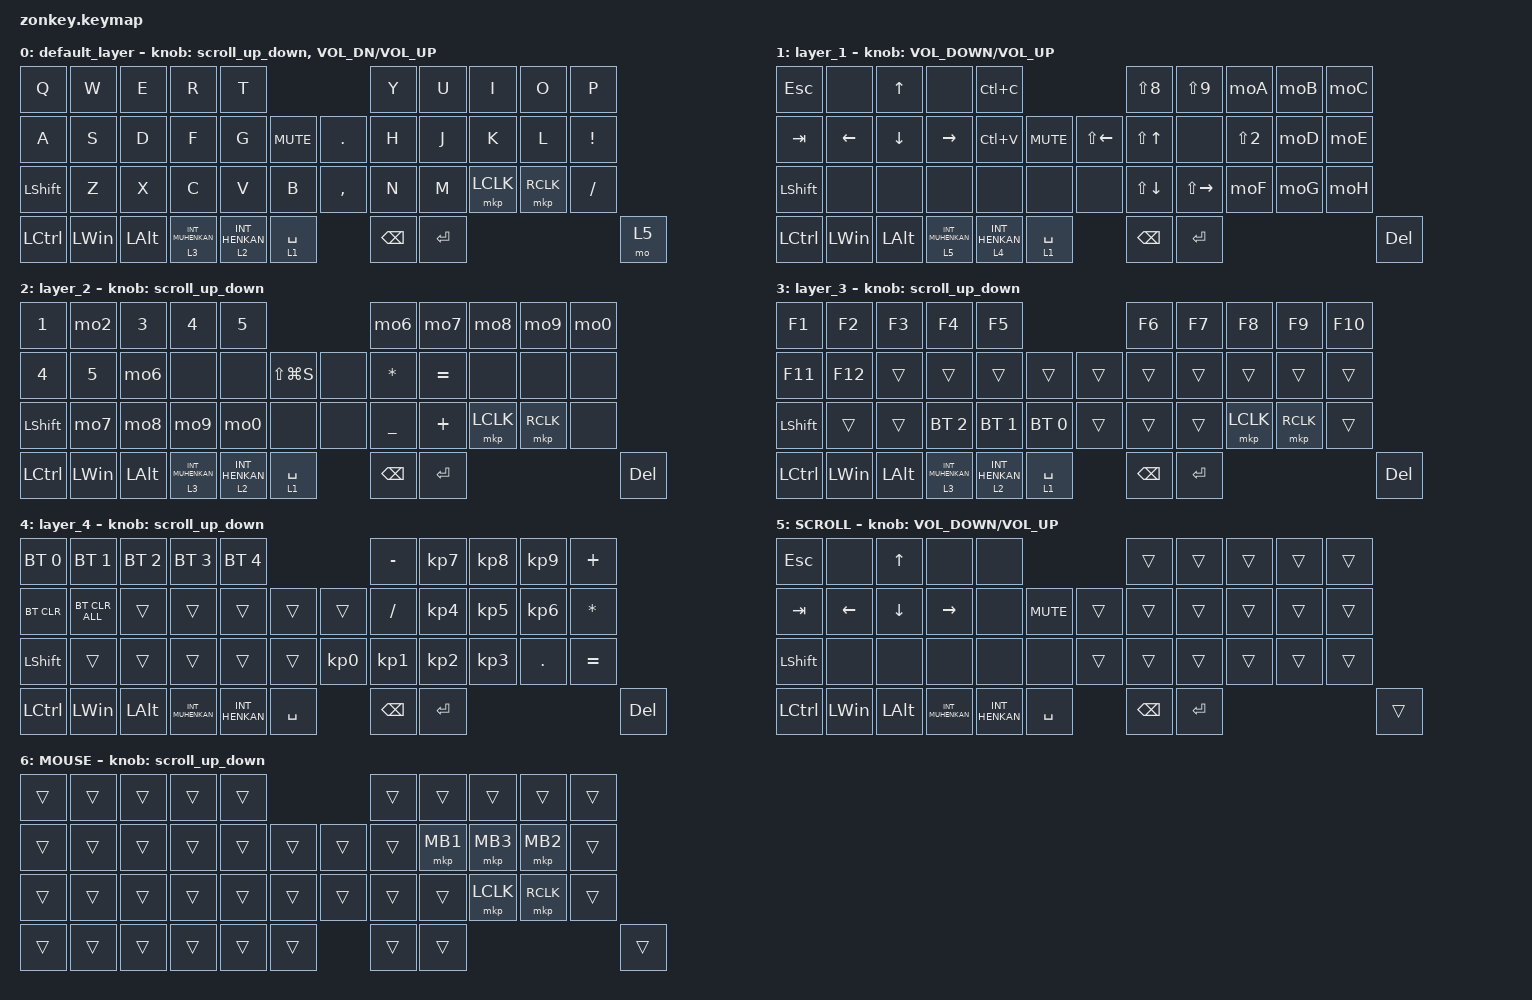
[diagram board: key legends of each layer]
#include <behaviors.dtsi>
#include <dt-bindings/zmk/bt.h>
#include <dt-bindings/zmk/keys.h>
#include <dt-bindings/zmk/pointing.h>

#define ZMK_POINTING_DEFAULT_SCRL_VAL 100
#define MOUSE 6
#define JP_DQUOTE       AT                // "
#define JP_AMPERSAND    CARET             // &
#define JP_QUOTE        AMPERSAND         // '
#define JP_EQUAL        UNDER             // =
#define JP_CARET        EQUAL             // ^
#define JP_YEN          0x89              // ¥
#define JP_PLUS         COLON             // +
#define JP_TILDE        PLUS              // ~
#define JP_PIPE         LS(0x89)          // |
#define JP_AT           LEFT_BRACKET      // @
#define JP_COLON        SINGLE_QUOTE      // :
#define JP_ASTERISK     DOUBLE_QUOTES     // *
#define JP_BACKQUOTE    LEFT_BRACE        // `
#define JP_UNDERSCORE   LS(0x87)          // _
#define JP_LBRACKET     RIGHT_BRACKET     // [
#define JP_RBRACKET     BACKSLASH         // ]
#define JP_LPAREN       ASTERISK          // (
#define JP_RPAREN       LEFT_PARENTHESIS  // )
#define JP_LBRACE       RIGHT_BRACE       // {
#define JP_RBRACE       PIPE              // }
#define JP_KANA         LANGUAGE_1        // かな
#define JP_EISU         LANGUAGE_2        // 英数
#define JP_HANZEN       GRAVE             // 半角/全角
#define JP_BSLH  INT1         // (backslash)

&mt {
    flavor = "balanced";
    quick-tap-ms = <0>;
};

/ {
    combos { compatible = "zmk,combos"; };

    mo2: mo2 {
        compatible = "zmk,behavior-mod-morph";
        #binding-cells = <0>;
        bindings = <&kp N2>, <&kp AT>;

        mods = <(MOD_LSFT|MOD_RSFT)>;
    };

    mo6: mo6 {
        compatible = "zmk,behavior-mod-morph";
        #binding-cells = <0>;
        bindings = <&kp N6>, <&kp CARET>;

        mods = <(MOD_LSFT|MOD_RSFT)>;
    };

    mo7: mo7 {
        compatible = "zmk,behavior-mod-morph";
        #binding-cells = <0>;
        bindings = <&kp N7>, <&kp AMPS>;

        mods = <(MOD_LSFT|MOD_RSFT)>;
    };

    mo8: mo8 {
        compatible = "zmk,behavior-mod-morph";
        #binding-cells = <0>;
        bindings = <&kp N8>, <&kp ASTRK>;

        mods = <(MOD_LSFT|MOD_RSFT)>;
    };

    mo9: mo9 {
        compatible = "zmk,behavior-mod-morph";
        #binding-cells = <0>;
        bindings = <&kp N9>, <&kp LPAR>;

        mods = <(MOD_LSFT|MOD_RSFT)>;
    };

    mo0: mo0 {
        compatible = "zmk,behavior-mod-morph";
        #binding-cells = <0>;
        bindings = <&kp N0>, <&kp LS(N9)>;

        mods = <(MOD_LSFT|MOD_RSFT)>;
    };

    moA: moA {
        compatible = "zmk,behavior-mod-morph";
        #binding-cells = <0>;
        bindings = <&kp MINUS>, <&kp UNDERSCORE>;

        mods = <(MOD_LSFT|MOD_RSFT)>;
    };

    moB: moB {
        compatible = "zmk,behavior-mod-morph";
        #binding-cells = <0>;
        bindings = <&kp EQUAL>, <&kp PLUS>;

        mods = <(MOD_LSFT|MOD_RSFT)>;
    };

    moC: moC {
        compatible = "zmk,behavior-mod-morph";
        #binding-cells = <0>;
        bindings = <&kp INT3>, <&kp JP_PIPE>;

        mods = <(MOD_LSFT|MOD_RSFT)>;
    };

    moD: moD {
        compatible = "zmk,behavior-mod-morph";
        #binding-cells = <0>;
        bindings = <&kp LBKT>, <&kp LBRC>;

        mods = <(MOD_LSFT|MOD_RSFT)>;
    };

    moE: moE {
        compatible = "zmk,behavior-mod-morph";
        #binding-cells = <0>;
        bindings = <&kp RBKT>, <&kp RBRC>;

        mods = <(MOD_LSFT|MOD_RSFT)>;
    };

    moF: moF {
        compatible = "zmk,behavior-mod-morph";
        #binding-cells = <0>;
        bindings = <&kp SEMI>, <&kp KP_PLUS>;

        mods = <(MOD_LSFT|MOD_RSFT)>;
    };

    moG: moG {
        compatible = "zmk,behavior-mod-morph";
        #binding-cells = <0>;
        bindings = <&kp APOSTROPHE>, <&kp DQT>;

        mods = <(MOD_LSFT|MOD_RSFT)>;
    };

    moH: moH {
        compatible = "zmk,behavior-mod-morph";
        #binding-cells = <0>;
        bindings = <&kp BACKSLASH>, <&kp TILDE2>;

        mods = <(MOD_LSFT|MOD_RSFT)>;
    };

    moI: moI {
        compatible = "zmk,behavior-mod-morph";
        #binding-cells = <0>;
        bindings = <&kp JP_BSLH>, <&kp JP_UNDERSCORE>;

        mods = <(MOD_LSFT|MOD_RSFT)>;
    };

    macros {
        to_layer_0: to_layer_0 {
            compatible = "zmk,behavior-macro-one-param";
            #binding-cells = <1>;
            bindings = <&to 0 &macro_param_1to1 &kp MACRO_PLACEHOLDER>;
            label = "TO_LAYER_0";
        };
    };

    behaviors {
        lt_to_layer_0: lt_to_layer_0 {
            compatible = "zmk,behavior-hold-tap";
            label = "LAYER_TAP_TO_0";
            bindings = <&mo>, <&to_layer_0>;

            #binding-cells = <2>;
            tapping-term-ms = <200>;
        };

        scroll_up_down: behavior_sensor_rotate_mouse_wheel_up_down {
            compatible = "zmk,behavior-sensor-rotate";
            #sensor-binding-cells = <0>;
            bindings = <&msc SCRL_DOWN>, <&msc SCRL_UP>;

            tap-ms = <20>;
        };

        newscroll_up_down: newscroll_up_down {
            compatible = "zmk,behavior-sensor-rotate";
            #sensor-binding-cells = <0>;
            bindings = <&msc SCRL_DOWN>, <&msc SCRL_UP>;

            tap-ms = <20>;
            label = "NEWSCROLL_UP_DOWN";
        };
    };

    keymap {
        compatible = "zmk,keymap";

        default_layer {
            // -----------------------------------------------------------------------------------------
            // |  Q  |  W  |  E  |  R  |  T  |                        |  Y  |  U   |  I  |  O  |  P  | 
            // |  A  |  S  |  D  |  F  |  G  |LS(LG(S))|        　 | - |  H  |  J   |  K  |  L  |  `  | 
            // |SHIFT|  Z  |  X  |  C  |  V  |  B  |           | ; |  N  |  M   |  ,  |  .  |  /  | 
            // | CTRL | WIN | ALT |HENKAN|SPACE|MUHENKAN|       | BS | ENT |      　　　　       | DEL |           

            bindings = <
&kp Q           &kp W         &kp E         &kp R               &kp T                                        &kp Y          &kp U      &kp I      &kp O      &kp P
&kp A           &kp S         &kp D         &kp F               &kp G             &kp C_MUTE     &kp PERIOD  &kp H          &kp J      &kp K      &kp L      &kp EXCLAMATION
&kp LEFT_SHIFT  &kp Z         &kp X         &kp C               &kp V             &kp B          &kp COMMA   &kp N          &kp M      &mkp LCLK  &mkp RCLK  &kp SLASH
&kp LCTRL       &kp LEFT_WIN  &kp LEFT_ALT  &lt 3 INT_MUHENKAN  &lt 2 INT_HENKAN  &lt 1 SPACE                &kp BACKSPACE  &kp ENTER                                         &mo 5
            >;

            sensor-bindings =
                <&scroll_up_down>,
                <&inc_dec_kp C_VOL_DN C_VOL_UP>;
        };

        layer_1 {
            // -----------------------------------------------------------------------------------------
            // | 半角/全角 |CAPS|     |     |     |                     |     |     |  -  |  ^  |  ¥  |
            // | TAB |     |     |     |     |     |              |    |     |     |     |  @  |  [  |
            // |SHIFT|     |     |     |     |     |            | 英数 | かな |     |     |     |  ]  |
            // | CTRL| WIN | ALT |HENKAN|SPACE|MUHENKAN|         | BS | ENT |                   | DEL |

            bindings = <
&kp ESCAPE      &none         &kp UP        &none               &kp LC(C)                                      &kp LS(NUMBER_8)  &kp LS(NUMBER_9)  &moA              &moB  &moC
&kp TAB         &kp LEFT      &kp DOWN      &kp RIGHT           &kp LC(V)         &kp C_MUTE     &kp LS(LEFT)  &kp LS(UP)        &none             &kp LS(NUMBER_2)  &moD  &moE
&kp LEFT_SHIFT  &none         &none         &none               &none             &none          &none         &kp LS(DOWN)      &kp LS(RIGHT)     &moF              &moG  &moH
&kp LCTRL       &kp LEFT_WIN  &kp LEFT_ALT  &lt 5 INT_MUHENKAN  &lt 4 INT_HENKAN  &lt 1 SPACE                  &kp BACKSPACE     &kp ENTER                                       &kp DEL
            >;

            sensor-bindings = <&inc_dec_kp C_VOLUME_DOWN C_VOLUME_UP>;
        };

        layer_2 {
            // -----------------------------------------------------------------------------------------
            // |  1  |  2  |  3  |  4  |  5  |                     |  6  |  7  |  8  |  9  |   0  |
            // |      |     |     |     |     |     |           |    |     |     |     |  ↑  |      |
            // |SHIFT|     |     |     |     |     |           |     |     |     |  ←  |  ↓  |  →  |
            // | CTRL| WIN | ALT |HENKAN|SPACE|MUHENKAN|         | BS | ENT |                   | DEL |

            bindings = <
&kp N1          &mo2          &kp N3        &kp N4              &kp N5                                    &mo6           &mo7       &mo8       &mo9       &mo0
&kp NUMBER_4    &kp NUMBER_5  &mo6          &none               &none             &kp LS(LG(S))    &none  &kp ASTERISK   &kp EQUAL  &none      &none      &none
&kp LEFT_SHIFT  &mo7          &mo8          &mo9                &mo0              &none            &none  &kp UNDER      &kp PLUS   &mkp LCLK  &mkp RCLK  &none
&kp LCTRL       &kp LEFT_WIN  &kp LEFT_ALT  &lt 3 INT_MUHENKAN  &lt 2 INT_HENKAN  &lt 1 SPACE             &kp BACKSPACE  &kp ENTER                               &kp DEL
            >;

            sensor-bindings = <&scroll_up_down>;
        };

        layer_3 {
            // -----------------------------------------------------------------------------------------
            // | F1  | F2  | F3  | F4  | F5  |                     | F6  | F7 | F8  | F9 | F10 |
            // | F11 | F12 |     |     |     |     |           |    |     |     |     |     |      |
            // |SHIFT|     |     |     |     |     |           |     |     |     |     |     |      |
            // | CTRL| WIN | ALT |HENKAN|SPACE|MUHENKAN|         | BS | ENT |                   | DEL |

            bindings = <
&kp F1          &kp F2        &kp F3        &kp F4              &kp F5                                    &kp F6         &kp F7     &kp F8     &kp F9     &kp F10
&kp F11         &kp F12       &trans        &trans              &trans            &trans          &trans  &trans         &trans     &trans     &trans     &trans
&kp LEFT_SHIFT  &trans        &trans        &bt BT_SEL 2        &bt BT_SEL 1      &bt BT_SEL 0    &trans  &trans         &trans     &mkp LCLK  &mkp RCLK  &trans
&kp LCTRL       &kp LEFT_WIN  &kp LEFT_ALT  &lt 3 INT_MUHENKAN  &lt 2 INT_HENKAN  &lt 1 SPACE             &kp BACKSPACE  &kp ENTER                                 &kp DEL
            >;

            sensor-bindings = <&scroll_up_down>;
        };

        layer_4 {
            // -----------------------------------------------------------------------------------------
            // | BT0 | BT1 | BT2 | BT3 | BT4 |                |  -  |  7  |  8  |  9  |  +  |
            // |BTCLR |     |     |     |     |     |           |  /  |  4  |  5  |  6  |  *  | 
            // |SHIFT|     |     |     |     |     |           |  0  |  1  |  2  |   3 |  .  |  =  |
            // | CTRL| WIN | ALT |HENKAN|SPACE|MUHENKAN|        | BS | ENT |                  | DEL |

            bindings = <
&bt BT_SEL 0    &bt BT_SEL 1    &bt BT_SEL 2  &bt BT_SEL 3      &bt BT_SEL 4                                  &kp MINUS        &kp KP_NUMBER_7  &kp KP_NUMBER_8  &kp KP_NUMBER_9  &kp PLUS
&bt BT_CLR      &bt BT_CLR_ALL  &trans        &trans            &trans          &trans       &trans           &kp SLASH        &kp KP_NUMBER_4  &kp KP_NUMBER_5  &kp KP_NUMBER_6  &kp ASTERISK
&kp LEFT_SHIFT  &trans          &trans        &trans            &trans          &trans       &kp KP_NUMBER_0  &kp KP_NUMBER_1  &kp KP_NUMBER_2  &kp KP_NUMBER_3  &kp PERIOD       &kp EQUAL
&kp LCTRL       &kp LEFT_WIN    &kp LEFT_ALT  &kp INT_MUHENKAN  &kp INT_HENKAN  &kp SPACE                     &kp BACKSPACE    &kp ENTER                                                        &kp DEL
            >;

            sensor-bindings = <&scroll_up_down>;
        };

        SCROLL {
            // -----------------------------------------------------------------------------------------
            // |      |     |     |     |     |                     |     |     |     |     |      |
            // |      |     |     |     |     |     |           |    |     |     |     |     |      |
            // |SHIFT|     |     |     |     |     |          |     |     |     |     |     |      |
            // | CTRL| WIN | ALT |HENKAN|SPACE|MUHENKAN|        | BS | ENT |                  | DEL |

            bindings = <
&kp ESCAPE      &none           &kp UP_ARROW    &none             &none                                 &trans         &trans     &trans  &trans  &trans
&kp TAB         &kp LEFT_ARROW  &kp DOWN_ARROW  &kp RIGHT_ARROW   &none           &kp C_MUTE    &trans  &trans         &trans     &trans  &trans  &trans
&kp LEFT_SHIFT  &none           &none           &none             &none           &none         &trans  &trans         &trans     &trans  &trans  &trans
&kp LCTRL       &kp LEFT_WIN    &kp LEFT_ALT    &kp INT_MUHENKAN  &kp INT_HENKAN  &kp SPACE             &kp BACKSPACE  &kp ENTER                          &trans
            >;

            sensor-bindings = <&inc_dec_kp C_VOLUME_DOWN C_VOLUME_UP>;
        };

        MOUSE {
            bindings = <
&trans  &trans  &trans  &trans  &trans                    &trans  &trans    &trans     &trans     &trans
&trans  &trans  &trans  &trans  &trans  &trans    &trans  &trans  &mkp MB1  &mkp MB3   &mkp MB2   &trans
&trans  &trans  &trans  &trans  &trans  &trans    &trans  &trans  &trans    &mkp LCLK  &mkp RCLK  &trans
&trans  &trans  &trans  &trans  &trans  &trans            &trans  &trans                                  &trans
            >;

            sensor-bindings = <&scroll_up_down>;
        };
    };
};
